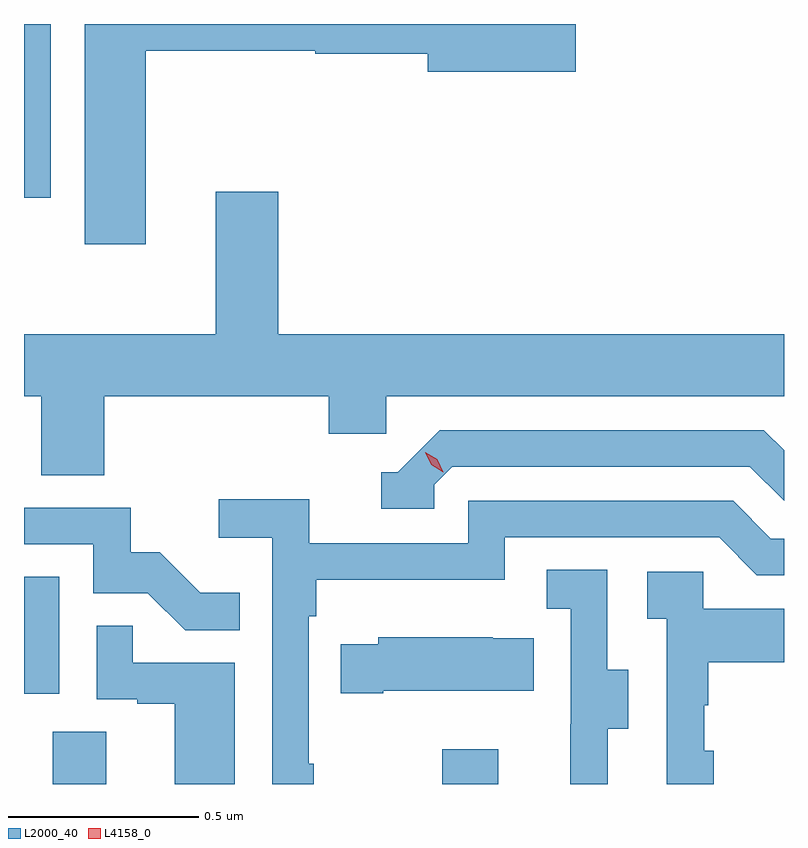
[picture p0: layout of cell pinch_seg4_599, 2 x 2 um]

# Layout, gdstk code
import gdstk
lib = gdstk.Library(unit=1e-6, precision=1e-09)
def R(c, l, rs):  # rectangles x0, y0, x1, y1
    for r in rs: c.add(gdstk.rectangle(r[:2], r[2:], *l))
def P(c, l, *ps):  # polygons
    for p in ps: c.add(gdstk.Polygon(p, *l))
L2000_40 = (2000, 40)
L4158_0 = (4158, 0)

pinch_seg4_599 = lib.new_cell('pinch_seg4_599')
R(pinch_seg4_599, L2000_40, [(1027.715,777.152,1027.855,777.29), (1028.74,777.152,1028.887,777.244), (1027.639,777.39,1027.732,777.697), (1027.639,778.695,1027.71,779.152)])
P(pinch_seg4_599, L2000_40, [(1027.96,779.082),(1028.406,779.082),(1028.406,779.074),(1028.702,779.074),(1028.702,779.027),(1029.091,779.027),(1029.091,779.152),(1027.799,779.152),(1027.799,778.572),(1027.96,778.572)],
  [(1027.85,778.172),(1028.441,778.172),(1028.441,778.074),(1028.592,778.074),(1028.592,778.172),(1029.639,778.172),(1029.639,778.336),(1028.308,778.336),(1028.308,778.711),(1028.144,778.711),(1028.144,778.336),(1027.639,778.336),(1027.639,778.172),(1027.685,778.172),(1027.685,777.964),(1027.85,777.964)],
  [(1028.718,777.939),(1028.766,777.987),(1029.549,777.987),(1029.639,777.897),(1029.639,778.03),(1029.586,778.083),(1028.733,778.083),(1028.622,777.972),(1028.579,777.972),(1028.579,777.876),(1028.718,777.876)],
  [(1028.401,777.205),(1028.388,777.205),(1028.388,777.593),(1028.408,777.593),(1028.408,777.689),(1028.904,777.689),(1028.904,777.801),(1029.468,777.801),(1029.567,777.702),(1029.639,777.702),(1029.639,777.798),(1029.604,777.798),(1029.505,777.897),(1028.808,777.897),(1028.808,777.786),(1028.39,777.786),(1028.39,777.902),(1028.151,777.902),(1028.151,777.8),(1028.292,777.8),(1028.292,777.152),(1028.401,777.152)],
  [(1028.207,777.655),(1028.103,777.655),(1027.996,777.762),(1027.92,777.762),(1027.92,777.879),(1027.639,777.879),(1027.639,777.783),(1027.821,777.783),(1027.821,777.654),(1027.965,777.654),(1028.063,777.556),(1028.207,777.556)],
  [(1029.175,777.298),(1029.229,777.298),(1029.229,777.453),(1029.174,777.453),(1029.174,777.716),(1029.015,777.716),(1029.015,777.613),(1029.078,777.613),(1029.078,777.309),(1029.077,777.309),(1029.077,777.152),(1029.175,777.152)],
  [(1029.454,777.24),(1029.429,777.24),(1029.429,777.359),(1029.439,777.359),(1029.439,777.473),(1029.639,777.473),(1029.639,777.613),(1029.426,777.613),(1029.426,777.711),(1029.279,777.711),(1029.279,777.587),(1029.33,777.587),(1029.33,777.152),(1029.454,777.152)],
  [(1028.194,777.471),(1027.925,777.471),(1027.925,777.569),(1027.83,777.569),(1027.83,777.375),(1027.937,777.375),(1027.937,777.363),(1028.036,777.363),(1028.036,777.152),(1028.194,777.152)],
  [(1028.584,777.398),(1028.981,777.398),(1028.981,777.535),(1028.873,777.535),(1028.873,777.538),(1028.571,777.538),(1028.571,777.52),(1028.473,777.52),(1028.473,777.391),(1028.584,777.391)])
P(pinch_seg4_599, L4158_0, [(1028.742,777.973),(1028.711,777.992),(1028.695,778.025),(1028.695,778.025),(1028.695,778.025),(1028.726,778.006),(1028.742,777.973),(1028.742,777.973)])

lib.write_gds('pinch_seg4_599.gds')
